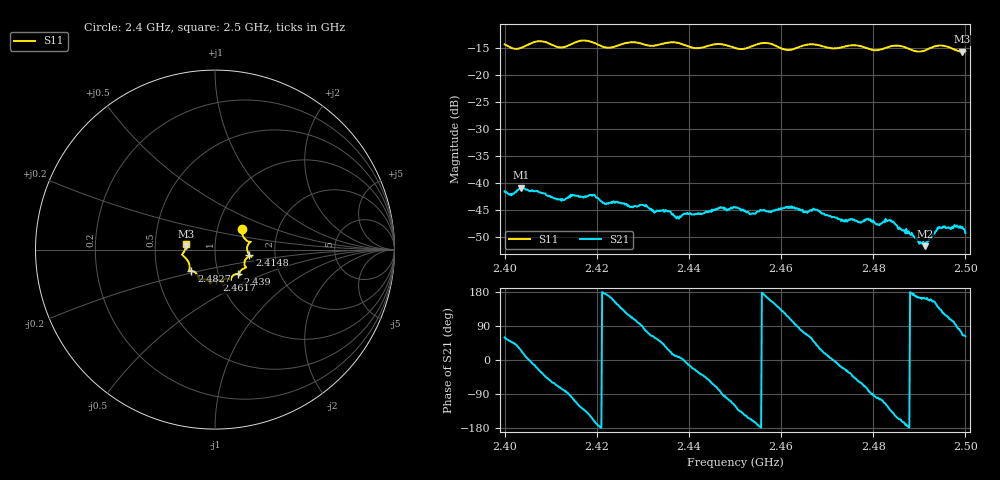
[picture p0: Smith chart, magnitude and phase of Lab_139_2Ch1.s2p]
# Hz S RI R 50
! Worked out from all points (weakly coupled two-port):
!   601 points, 2.4 GHz to 2.5 GHz, reference 50 ohm
!   highest |S21| = -40.88 dB at 2.4035 GHz (marker M1); lowest = -51.7 dB at 2.4912 GHz (marker M2)
!   lowest |S11| = -15.7 dB at 2.4993 GHz (marker M3), VSWR 1.39, Z = 36 + j1.4 ohm
!   |S11| at or under -10 dB: start of sweep to end of sweep
!   S12 and S22 are empty: the file has one direction only
!   S11 on the Smith chart (normalised r, x): 2.4 GHz: 1.31, +0.31; 2.4148 GHz: 1.47, -0.10; 2.439 GHz: 1.24, -0.35; 2.4617 GHz: 0.96, -0.33; 2.4827 GHz: 0.75, -0.18; 2.5 GHz: 0.72, +0.05
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2.4e9  0.1515 0.1155  0.00423 0.00719  0 0  0 0
2.4035e9  0.1656 0.0608  0.00812 0.00397  0 0  0 0
2.407667e9  0.1996 0.0434  0.00711 -0.00396  0 0  0 0
2.411833e9  0.1787 0.0102  0.00217 -0.00667  0 0  0 0
2.414833e9  0.1922 -0.0312  -0.00171 -0.00743  0 0  0 0
2.416667e9  0.203 -0.0394  -0.00432 -0.00604  0 0  0 0
2.419167e9  0.1956 -0.0364  -0.00711 -0.00304  0 0  0 0
2.422333e9  0.1672 -0.06  -0.00636 0.00108  0 0  0 0
2.433333e9  0.1368 -0.13  0.00329 0.00438  0 0  0 0
2.439e9  0.1297 -0.1368  0.00518 -0.000195  0 0  0 0
2.45e9  0.071 -0.1619  -0.00298 -0.00513  0 0  0 0
2.453667e9  0.0399 -0.1791  -0.00487 -0.00186  0 0  0 0
2.456833e9  0.0437 -0.1915  -0.00528 0.00129  0 0  0 0
2.461667e9  0.00822 -0.1691  -0.00222 0.00539  0 0  0 0
2.466667e9  -0.0264 -0.1894  0.00306 0.00455  0 0  0 0
2.473333e9  -0.0737 -0.1644  0.00423 -0.00158  0 0  0 0
2.482667e9  -0.1318 -0.1176  -0.002 -0.00419  0 0  0 0
2.483333e9  -0.1374 -0.1171  -0.00269 -0.00361  0 0  0 0
2.491167e9  -0.1588 -0.0527  -0.00247 0.000798  0 0  0 0
2.494333e9  -0.1838 -0.0292  -0.00278 0.00275  0 0  0 0
2.499333e9  -0.1623 0.0189  0.00158 0.00358  0 0  0 0
2.5e9  -0.1619 0.031  0.00158 0.00304  0 0  0 0
